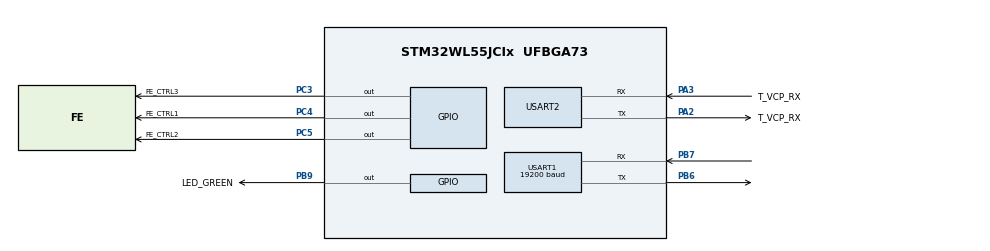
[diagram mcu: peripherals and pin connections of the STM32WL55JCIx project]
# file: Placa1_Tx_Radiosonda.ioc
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Dma.Request0=USART2_RX
Dma.Request1=USART2_TX
Dma.Request2=USART1_RX
Dma.Request3=USART1_TX
Dma.USART1_RX.2.Channel_PRIV_NPRIV=DMA_CHANNEL_NPRIV_DISABLE
Dma.USART1_RX.2.Direction=DMA_PERIPH_TO_MEMORY
Dma.USART1_RX.2.EventEnable=DISABLE
Dma.USART1_RX.2.Instance=DMA1_Channel3
Dma.USART1_RX.2.MemDataAlignment=DMA_MDATAALIGN_BYTE
Dma.USART1_RX.2.MemInc=DMA_MINC_ENABLE
Dma.USART1_RX.2.Mode=DMA_CIRCULAR
Dma.USART1_RX.2.PeriphDataAlignment=DMA_PDATAALIGN_BYTE
Dma.USART1_RX.2.PeriphInc=DMA_PINC_DISABLE
Dma.USART1_RX.2.Polarity=HAL_DMAMUX_REQ_GEN_RISING
Dma.USART1_RX.2.Priority=DMA_PRIORITY_LOW
Dma.USART1_RX.2.RequestNumber=1
Dma.USART1_RX.2.SignalID=NONE
Dma.USART1_RX.2.SyncEnable=DISABLE
Dma.USART1_RX.2.SyncPolarity=HAL_DMAMUX_SYNC_NO_EVENT
Dma.USART1_RX.2.SyncRequestNumber=1
Dma.USART1_RX.2.SyncSignalID=NONE
Dma.USART1_TX.3.Channel_PRIV_NPRIV=DMA_CHANNEL_NPRIV_DISABLE
Dma.USART1_TX.3.Direction=DMA_MEMORY_TO_PERIPH
Dma.USART1_TX.3.EventEnable=DISABLE
Dma.USART1_TX.3.Instance=DMA1_Channel4
Dma.USART1_TX.3.MemDataAlignment=DMA_MDATAALIGN_BYTE
Dma.USART1_TX.3.MemInc=DMA_MINC_ENABLE
Dma.USART1_TX.3.Mode=DMA_CIRCULAR
Dma.USART1_TX.3.PeriphDataAlignment=DMA_PDATAALIGN_BYTE
Dma.USART1_TX.3.PeriphInc=DMA_PINC_DISABLE
Dma.USART1_TX.3.Polarity=HAL_DMAMUX_REQ_GEN_RISING
Dma.USART1_TX.3.Priority=DMA_PRIORITY_LOW
Dma.USART1_TX.3.RequestNumber=1
Dma.USART1_TX.3.SignalID=NONE
Dma.USART1_TX.3.SyncEnable=DISABLE
Dma.USART1_TX.3.SyncPolarity=HAL_DMAMUX_SYNC_NO_EVENT
Dma.USART1_TX.3.SyncRequestNumber=1
Dma.USART1_TX.3.SyncSignalID=NONE
Dma.USART2_RX.0.Channel_PRIV_NPRIV=DMA_CHANNEL_NPRIV_DISABLE
Dma.USART2_RX.0.Direction=DMA_PERIPH_TO_MEMORY
Dma.USART2_RX.0.EventEnable=DISABLE
Dma.USART2_RX.0.Instance=DMA1_Channel1
Dma.USART2_RX.0.MemDataAlignment=DMA_MDATAALIGN_BYTE
Dma.USART2_RX.0.MemInc=DMA_MINC_ENABLE
Dma.USART2_RX.0.Mode=DMA_CIRCULAR
Dma.USART2_RX.0.PeriphDataAlignment=DMA_PDATAALIGN_BYTE
Dma.USART2_RX.0.PeriphInc=DMA_PINC_DISABLE
Dma.USART2_RX.0.Polarity=HAL_DMAMUX_REQ_GEN_RISING
Dma.USART2_RX.0.Priority=DMA_PRIORITY_LOW
Dma.USART2_RX.0.RequestNumber=1
Dma.USART2_RX.0.SignalID=NONE
Dma.USART2_RX.0.SyncEnable=DISABLE
Dma.USART2_RX.0.SyncPolarity=HAL_DMAMUX_SYNC_NO_EVENT
Dma.USART2_RX.0.SyncRequestNumber=1
Dma.USART2_RX.0.SyncSignalID=NONE
Dma.USART2_TX.1.Channel_PRIV_NPRIV=DMA_CHANNEL_NPRIV_DISABLE
Dma.USART2_TX.1.Direction=DMA_MEMORY_TO_PERIPH
Dma.USART2_TX.1.EventEnable=DISABLE
Dma.USART2_TX.1.Instance=DMA1_Channel2
Dma.USART2_TX.1.MemDataAlignment=DMA_MDATAALIGN_BYTE
Dma.USART2_TX.1.MemInc=DMA_MINC_ENABLE
Dma.USART2_TX.1.Mode=DMA_CIRCULAR
Dma.USART2_TX.1.PeriphDataAlignment=DMA_PDATAALIGN_BYTE
Dma.USART2_TX.1.PeriphInc=DMA_PINC_DISABLE
Dma.USART2_TX.1.Polarity=HAL_DMAMUX_REQ_GEN_RISING
Dma.USART2_TX.1.Priority=DMA_PRIORITY_LOW
Dma.USART2_TX.1.RequestNumber=1
Dma.USART2_TX.1.SignalID=NONE
Dma.USART2_TX.1.SyncEnable=DISABLE
Dma.USART2_TX.1.SyncPolarity=HAL_DMAMUX_SYNC_NO_EVENT
Dma.USART2_TX.1.SyncRequestNumber=1
Dma.USART2_TX.1.SyncSignalID=NONE
Mcu.Family=STM32WL
Mcu.Name=STM32WL55JCIx
Mcu.Package=UFBGA73
NVIC.DMA1_Channel1_IRQn=true\:0\:0\:false\:false\:true\:false\:true\:true
NVIC.DMA1_Channel2_IRQn=true\:0\:0\:false\:false\:true\:false\:true\:true
NVIC.DMA1_Channel3_IRQn=true\:0\:0\:false\:false\:true\:false\:true\:true
NVIC.DMA1_Channel4_IRQn=true\:0\:0\:false\:false\:true\:false\:true\:true
NVIC.PriorityGroup=NVIC_PRIORITYGROUP_4
NVIC.SUBGHZ_Radio_IRQn=true\:0\:0\:false\:false\:true\:true\:true\:true
NVIC.USART1_IRQn=true\:0\:0\:false\:false\:true\:true\:true\:true
NVIC.USART2_IRQn=true\:0\:0\:false\:false\:true\:true\:true\:true
OSC_IN.Mode=HSE-External-Oscillator
OSC_IN.Signal=RCC_OSC_IN
OSC_OUT.Mode=HSE-External-Oscillator
OSC_OUT.Signal=RCC_OSC_OUT
PA2.GPIO_Label=T_VCP_RX
PA2.Mode=Asynchronous
PA2.Signal=USART2_TX
PA3.GPIO_Label=T_VCP_RX
PA3.Mode=Asynchronous
PA3.Signal=USART2_RX
PB6.Mode=Asynchronous
PB6.Signal=USART1_TX
PB7.Mode=Asynchronous
PB7.Signal=USART1_RX
PB9.GPIO_Label=LED_GREEN
PB9.Signal=GPIO_Output
PC14-OSC32_IN.GPIO_Label=RCC_OSC32_IN
PC14-OSC32_IN.Signal=RCC_OSC32_IN
PC15-OSC32_OUT.GPIO_Label=RCC_OSC32_OUT
PC15-OSC32_OUT.Signal=RCC_OSC32_OUT
PC3.GPIO_Label=FE_CTRL3
PC3.GPIO_Speed=GPIO_SPEED_FREQ_VERY_HIGH
PC3.Signal=GPIO_Output
PC4.GPIO_Label=FE_CTRL1
PC4.GPIO_Speed=GPIO_SPEED_FREQ_VERY_HIGH
PC4.Signal=GPIO_Output
PC5.GPIO_Label=FE_CTRL2
PC5.GPIO_Speed=GPIO_SPEED_FREQ_VERY_HIGH
PC5.Signal=GPIO_Output
ProjectManager.HeapSize=0x200
ProjectManager.StackSize=0x400
ProjectManager.TargetToolchain=STM32CubeIDE
RCC.AHBFreq_Value=48000000
RCC.APB1Freq_Value=48000000
RCC.APB1TimFreq_Value=48000000
RCC.APB2Freq_Value=48000000
RCC.APB2TimFreq_Value=48000000
RCC.APB3Freq_Value=48000000
RCC.CortexFreq_Value=48000000
RCC.HCLKFreq_Value=48000000
RCC.HSE_VALUE=32000000
RCC.HSI_VALUE=16000000
RCC.LSE_VALUE=32768
RCC.MSIClockRange=RCC_MSIRANGE_11
RCC.SYSCLKFreq_VALUE=48000000
RCC.VCOOutputFreq_Value=384000000
SUBGHZ.BaudratePrescaler=SUBGHZSPI_BAUDRATEPRESCALER_4
USART1.BaudRate=19200
USART1.VirtualMode-Asynchronous=VM_ASYNC
USART2.VirtualMode-Asynchronous=VM_ASYNC
VP_SUBGHZ_VS_SUBGHZ.Mode=SUBGHZ_Activate
board=NUCLEO-WL55JC1

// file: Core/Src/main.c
/* USER CODE BEGIN Header */
/**
  ******************************************************************************
  * @file           : main.c
  * @brief          : Firmware da Placa 1 - Parser da Radiosonda e Transmissor LoRa
  ******************************************************************************
  */
/* USER CODE END Header */
#include "main.h"
#include "dma.h"
#include "subghz.h"
#include "usart.h"
#include "gpio.h"
#include "stm32wlxx_nucleo.h"
#include <string.h>
#include <stdio.h>
#include <stdbool.h>
#include "radio_driver.h"

/* USER CODE BEGIN 0 */
// Redireciona a saída do printf para a USART2 (nossa porta de debug para o PC)
int _write(int file, char *ptr, int len)
{
  HAL_UART_Transmit(&huart2, (uint8_t*)ptr, len, HAL_MAX_DELAY);
  return len;
}
/* USER CODE END 0 */

/* USER CODE BEGIN PD */
// --- Definições do Parser da Radiosonda ---
typedef struct __attribute__((packed)) {
    uint32_t packet_id;
    int32_t  latitude_raw;
    int32_t  longitude_raw;
    int32_t  altitude_raw;
    uint16_t voltage_mv;
    int8_t   radio_temp_c;
    uint8_t  sats_and_fix;
} LoRaPayload_t;

const uint8_t SYNC_WORD = 0xAA;
#define PAYLOAD_SIZE sizeof(LoRaPayload_t)

enum ParserState { AWAITING_SYNC, RECEIVING_PAYLOAD, AWAITING_CHECKSUM };

#define RADIOSONDE_UART_BUFFER_SIZE 256

// --- Parâmetros LoRa ---
#define RF_FREQUENCY                                915000000 // Hz
#define TX_OUTPUT_POWER                             22        // dBm (Aumentado para o máximo)
#define LORA_BANDWIDTH                              0         // 0: 125 kHz (Mantido)
#define LORA_SPREADING_FACTOR                       10        // SF10 (Aumentado de 7)
#define LORA_CODINGRATE                             4         // 4: 4/8 (Aumentado de 1, que era 4/5)
#define LORA_PREAMBLE_LENGTH                        8         // (Mantido)
/* USER CODE END PD */

/* USER CODE BEGIN PV */
// --- Variáveis do Parser e DMA ---
uint8_t radiosonde_rx_buffer[RADIOSONDE_UART_BUFFER_SIZE];
uint16_t old_pos = 0;
uint8_t payloadBuffer[PAYLOAD_SIZE];
int byteCounter = 0;
enum ParserState currentState = AWAITING_SYNC;
volatile bool tx_done = true; // Flag para controlar o estado da transmissão LoRa

// Array de lookup para Bandwidth
const RadioLoRaBandwidths_t Bandwidths[] = { LORA_BW_125, LORA_BW_250, LORA_BW_500 };
/* USER CODE END PV */

void SystemClock_Config(void);
/* USER CODE BEGIN PFP */
void Radio_Init(void);
void SendLoRaPacket(LoRaPayload_t* payload);
uint8_t calculate_checksum(uint8_t* data, int length);
void ProcessByte(uint8_t receivedByte);
void RadioOnDioIrq(RadioIrqMasks_t radioIrq); // Callback para eventos do rádio
/* USER CODE END PFP */

int main(void)
{
  /* MCU Configuration--------------------------------------------------------*/
  HAL_Init();
  SystemClock_Config();
  MX_GPIO_Init();
  MX_DMA_Init();
  MX_USART1_UART_Init();  // UART da Radiosonda
  MX_USART2_UART_Init();  // UART de Debug para o PC
  MX_SUBGHZ_Init();

  /* USER CODE BEGIN 2 */
  BSP_LED_Init(LED_GREEN);

  printf("\r\n--- Placa 1: Parser Radiosonda & Tx LoRa ---\r\n");

  Radio_Init();
  printf("Radio LoRa inicializado.\r\n");

  printf("Estado: Aguardando SYNC_WORD (0xAA) da radiosonda na USART1...\r\n");

  // Inicia a recepção via DMA na USART1 (rádiosonda)
  HAL_UART_Receive_DMA(&huart1, radiosonde_rx_buffer, RADIOSONDE_UART_BUFFER_SIZE);
  /* USER CODE END 2 */

  /* Infinite loop */
  /* USER CODE BEGIN WHILE */
  while (1)
  {
    uint16_t new_pos = RADIOSONDE_UART_BUFFER_SIZE - __HAL_DMA_GET_COUNTER(huart1.hdmarx);
    if (new_pos != old_pos)
    {
      if (new_pos > old_pos) {
        for (int i = old_pos; i < new_pos; i++) { ProcessByte(radiosonde_rx_buffer[i]); }
      } else { // Wrap-around
        for (int i = old_pos; i < RADIOSONDE_UART_BUFFER_SIZE; i++) { ProcessByte(radiosonde_rx_buffer[i]); }
        for (int i = 0; i < new_pos; i++) { ProcessByte(radiosonde_rx_buffer[i]); }
      }
      old_pos = new_pos;
    }

    // NÃO é necessário chamar nenhuma função de callback do rádio aqui.
    // O sistema de interrupções (NVIC) cuida disso automaticamente em background.

  }
  /* USER CODE END WHILE */
}

void SystemClock_Config(void)
{
  RCC_OscInitTypeDef RCC_OscInitStruct = {0};
  RCC_ClkInitTypeDef RCC_ClkInitStruct = {0};

  /** Configure LSE Drive Capability
  */
  HAL_PWR_EnableBkUpAccess();
  __HAL_RCC_LSEDRIVE_CONFIG(RCC_LSEDRIVE_LOW);
  /** Configure the main internal regulator output voltage
  */
  __HAL_PWR_VOLTAGESCALING_CONFIG(PWR_REGULATOR_VOLTAGE_SCALE1);
  /** Initializes the CPU, AHB and APB buses clocks
  */
  RCC_OscInitStruct.OscillatorType = RCC_OSCILLATORTYPE_LSE|RCC_OSCILLATORTYPE_MSI;
  RCC_OscInitStruct.LSEState = RCC_LSE_ON;
  RCC_OscInitStruct.MSIState = RCC_MSI_ON;
  RCC_OscInitStruct.MSICalibrationValue = RCC_MSICALIBRATION_DEFAULT;
  RCC_OscInitStruct.MSIClockRange = RCC_MSIRANGE_11;
  RCC_OscInitStruct.PLL.PLLState = RCC_PLL_NONE;
  if (HAL_RCC_OscConfig(&RCC_OscInitStruct) != HAL_OK)
  {
    Error_Handler();
  }
  /** Configure the SYSCLKSource, HCLK, PCLK1 and PCLK2 clocks dividers
  */
  RCC_ClkInitStruct.ClockType = RCC_CLOCKTYPE_HCLK3|RCC_CLOCKTYPE_HCLK
                              |RCC_CLOCKTYPE_SYSCLK|RCC_CLOCKTYPE_PCLK1
                              |RCC_CLOCKTYPE_PCLK2;
  RCC_ClkInitStruct.SYSCLKSource = RCC_SYSCLKSOURCE_MSI;
  RCC_ClkInitStruct.AHBCLKDivider = RCC_SYSCLK_DIV1;
  RCC_ClkInitStruct.APB1CLKDivider = RCC_HCLK_DIV1;
  RCC_ClkInitStruct.APB2CLKDivider = RCC_HCLK_DIV1;
  RCC_ClkInitStruct.AHBCLK3Divider = RCC_SYSCLK_DIV1;

  if (HAL_RCC_ClockConfig(&RCC_ClkInitStruct, FLASH_LATENCY_2) != HAL_OK)
  {
    Error_Handler();
  }
}

/* USER CODE BEGIN 4 */
// --- Nossas funções de apoio ---

void ProcessByte(uint8_t receivedByte)
{
  switch (currentState)
  {
    case AWAITING_SYNC:
      if (receivedByte == SYNC_WORD) {
        byteCounter = 0;
        currentState = RECEIVING_PAYLOAD;
      }
      break;

    case RECEIVING_PAYLOAD:
      if (byteCounter < PAYLOAD_SIZE) {
        payloadBuffer[byteCounter++] = receivedByte;
      }
      if (byteCounter >= PAYLOAD_SIZE) {
        currentState = AWAITING_CHECKSUM;
      }
      break;

    case AWAITING_CHECKSUM:
      {
        uint8_t receivedChecksum = receivedByte;
        uint8_t calculatedChecksum = calculate_checksum(payloadBuffer, PAYLOAD_SIZE);

        if (receivedChecksum == calculatedChecksum) {
          printf("Checksum OK. Pacote da radiosonda validado.\r\n");
          BSP_LED_Toggle(LED_GREEN);
          SendLoRaPacket((LoRaPayload_t*)payloadBuffer);
        } else {
          printf("Falha no Checksum! Esperado: 0x%02X, Recebido: 0x%02X\r\n", calculatedChecksum, receivedChecksum);
        }
        currentState = AWAITING_SYNC;
      }
      break;
  }
}

void SendLoRaPacket(LoRaPayload_t* payload)
{
    if (tx_done == true) // Só transmite se a transmissão anterior já terminou
    {
        tx_done = false; // Bloqueia novas transmissões
        printf("Transmitindo pacote LoRa ID: %lu\r\n", payload->packet_id);
        SUBGRF_SendPayload((uint8_t*)payload, PAYLOAD_SIZE, 0); // Timeout 0 para não bloquear
    }
    else
    {
        printf("WARN: Rádio ocupado, pacote descartado.\r\n");
    }
}

void Radio_Init(void)
{
    SUBGRF_Init(RadioOnDioIrq);

    SUBGRF_SetStandby(STDBY_RC);
    SUBGRF_SetPacketType(PACKET_TYPE_LORA);
    SUBGRF_SetRfFrequency(RF_FREQUENCY);
    SUBGRF_SetRfTxPower(TX_OUTPUT_POWER);

    ModulationParams_t modulationParams;
    modulationParams.PacketType = PACKET_TYPE_LORA;
    modulationParams.Params.LoRa.SpreadingFactor = LORA_SPREADING_FACTOR;
    modulationParams.Params.LoRa.Bandwidth = Bandwidths[LORA_BANDWIDTH];
    modulationParams.Params.LoRa.CodingRate = LORA_CODINGRATE;
    modulationParams.Params.LoRa.LowDatarateOptimize = 0x00;
    SUBGRF_SetModulationParams(&modulationParams);

    PacketParams_t packetParams;
    packetParams.PacketType = PACKET_TYPE_LORA;
    packetParams.Params.LoRa.PreambleLength = LORA_PREAMBLE_LENGTH;
    packetParams.Params.LoRa.HeaderType = LORA_PACKET_FIXED_LENGTH; // Mudar para CABEÇALHO FIXO
    packetParams.Params.LoRa.PayloadLength = PAYLOAD_SIZE;        // Definir o tamanho exato
    packetParams.Params.LoRa.CrcMode = LORA_CRC_ON;
    packetParams.Params.LoRa.InvertIQ = LORA_IQ_NORMAL;
    SUBGRF_SetPacketParams(&packetParams);

    // Configura as interrupções do rádio que queremos ouvir (TX_DONE e TIMEOUT)
    SUBGRF_SetDioIrqParams(IRQ_TX_DONE | IRQ_RX_TX_TIMEOUT, IRQ_TX_DONE | IRQ_RX_TX_TIMEOUT, IRQ_RADIO_NONE, IRQ_RADIO_NONE);
}

// Callback para os eventos de interrupção do rádio
void RadioOnDioIrq(RadioIrqMasks_t radioIrq)
{
    switch (radioIrq)
    {
        case IRQ_TX_DONE:
            printf("LoRa TX Done.\r\n");
            tx_done = true; // Libera para a próxima transmissão
            // Para baixo consumo, aqui chamaríamos SUBGRF_SetSleep()
            break;
        case IRQ_RX_DONE:
            // Não estamos usando recepção LoRa na Placa 1
            break;
        case IRQ_RX_TX_TIMEOUT:
            printf("WARN: LoRa TX Timeout.\r\n");
            tx_done = true; // Libera para tentar de novo
            break;
        default:
            break;
    }
}

uint8_t calculate_checksum(uint8_t* data, int length) {
    uint8_t checksum = 0;
    for (int i = 0; i < length; i++) { checksum ^= data[i]; }
    return checksum;
}
/* USER CODE END 4 */

void Error_Handler(void)
{
  __disable_irq();
  while (1)
  {
  }
}
